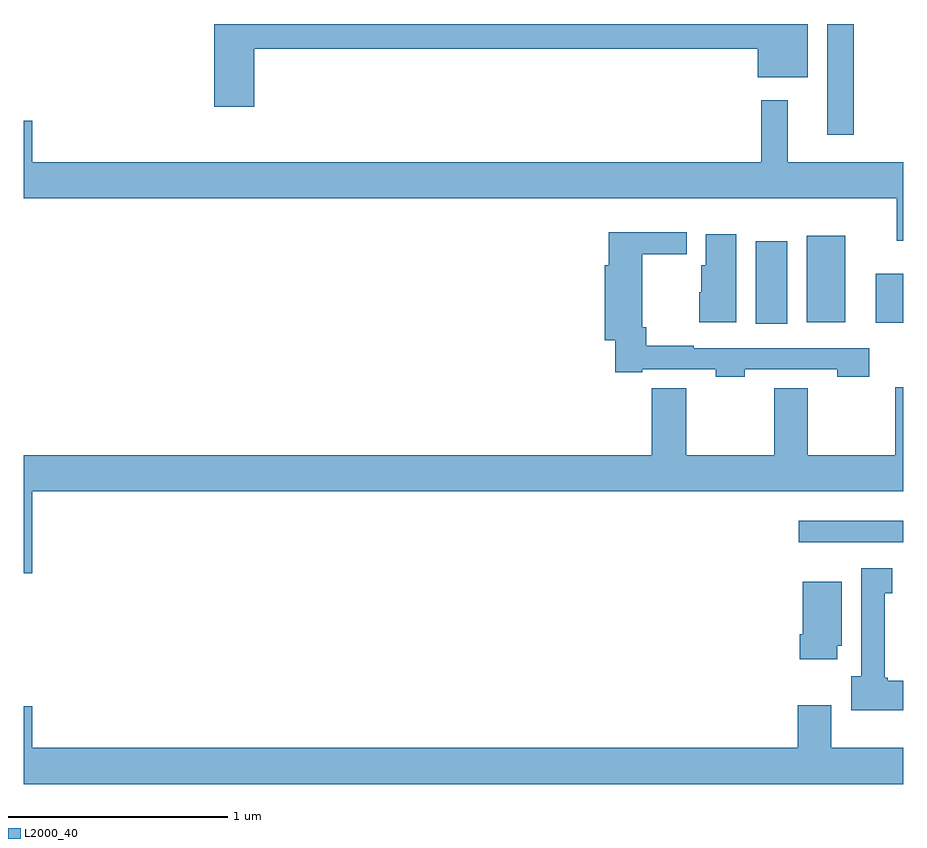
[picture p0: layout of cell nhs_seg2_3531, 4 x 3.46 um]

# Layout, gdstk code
import gdstk
lib = gdstk.Library(unit=1e-6, precision=1e-09)
def R(c, l, rs):  # rectangles x0, y0, x1, y1
    for r in rs: c.add(gdstk.rectangle(r[:2], r[2:], *l))
def P(c, l, *ps):  # polygons
    for p in ps: c.add(gdstk.Polygon(p, *l))
L2000_40 = (2000, 40)

nhs_seg2_3531 = lib.new_cell('nhs_seg2_3531')
R(nhs_seg2_3531, L2000_40, [(300.525,607.443,301,607.54), (300.329,608.436,300.472,608.812), (300.875,608.441,301,608.665), (300.56,608.444,300.736,608.836), (300.653,609.297,300.775,609.8)])
P(nhs_seg2_3531, L2000_40, [(298.049,609.688),(300.338,609.688),(300.338,609.557),(300.565,609.557),(300.565,609.8),(297.866,609.8),(297.866,609.423),(298.049,609.423)],
  [(300.475,609.454),(300.354,609.454),(300.354,609.172),(297.04,609.172),(297.04,609.361),(297,609.361),(297,609.008),(300.971,609.008),(300.971,608.814),(301,608.814),(301,609.172),(300.475,609.172)],
  [(300.279,608.229),(300.699,608.229),(300.699,608.197),(300.844,608.197),(300.844,608.325),(300.047,608.325),(300.047,608.338),(299.83,608.338),(299.83,608.422),(299.812,608.422),(299.812,608.752),(300.016,608.752),(300.016,608.854),(299.66,608.854),(299.66,608.703),(299.642,608.703),(299.642,608.363),(299.691,608.363),(299.691,608.217),(299.812,608.217),(299.812,608.229),(300.147,608.229),(300.147,608.197),(300.279,608.197)],
  [(300.241,608.845),(300.101,608.845),(300.101,608.703),(300.08,608.703),(300.08,608.58),(300.071,608.58),(300.071,608.444),(300.241,608.444)],
  [(297.04,607.676),(301,607.676),(301,608.149),(300.964,608.149),(300.964,607.84),(300.566,607.84),(300.566,608.144),(300.412,608.144),(300.412,607.84),(300.014,607.84),(300.014,608.144),(299.855,608.144),(299.855,607.84),(297,607.84),(297,607.302),(297.04,607.302)],
  [(301,606.814),(300.93,606.814),(300.93,606.828),(300.916,606.828),(300.916,607.211),(300.949,607.211),(300.949,607.324),(300.809,607.324),(300.809,606.834),(300.764,606.834),(300.764,606.68),(301,606.68)],
  [(300.7,606.972),(300.721,606.972),(300.721,607.264),(300.542,607.264),(300.542,607.024),(300.53,607.024),(300.53,606.912),(300.7,606.912)],
  [(301,606.508),(300.673,606.508),(300.673,606.703),(300.521,606.703),(300.521,606.508),(297.04,606.508),(297.04,606.697),(297,606.697),(297,606.344),(301,606.344)])

lib.write_gds('nhs_seg2_3531.gds')
